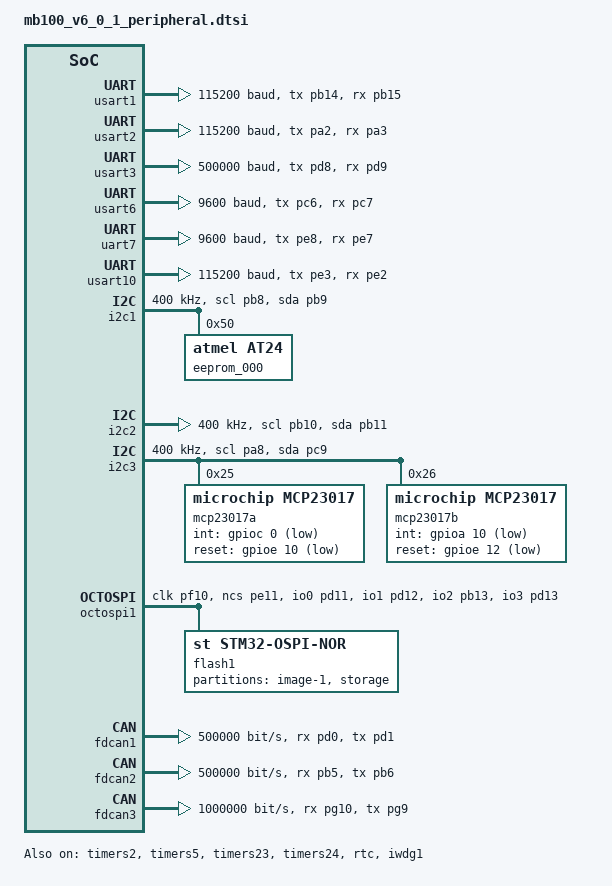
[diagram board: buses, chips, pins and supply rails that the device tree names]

/*
 *        Copyright (c) PINGSPACE SDN BHD
 *        Author: Yi Yun Lau <lau.yi.yun@pingspace.co>
 *        SPDX-License-Identifier: Apache-2.0
 *        Peripheral support and configs
 */

/*uarts start*/
&usart1 {
	//Serving: SC - ESP32 Communication
	pinctrl-0 = <&usart1_tx_pb14 &usart1_rx_pb15>;
	current-speed = <115200>;
	dmas = <&dmamux1 2 42 0x440>,
	       <&dmamux1 1 41 0x480>;
	pinctrl-names = "default";
	dma-names = "tx", "rx";
	status = "okay";
};

&usart2 {
	//Serving: SC - ESP32 Boot Flash
	pinctrl-0 = <&usart2_tx_pa2 &usart2_rx_pa3>;
	current-speed = <115200>;
	dmas = <&dmamux1 4 44 0x440>,
	       <&dmamux1 3 43 0x480>;
	pinctrl-names = "default";
	dma-names = "tx", "rx";
	status = "okay";
};

&usart3 {
	//Serving: Logging, and Shell.
	pinctrl-0 = <&usart3_tx_pd8 &usart3_rx_pd9>;
	current-speed = <500000>;
	pinctrl-names = "default";
	status = "okay";
};

&usart6 {
	//Serving: Rail QR Scanner
	pinctrl-0 = <&usart6_tx_pc6 &usart6_rx_pc7>;
	current-speed = <9600>;
	pinctrl-names = "default";
	status = "okay";
};

&uart7 {
	//Serving: Scanner A
	pinctrl-0 = <&uart7_tx_pe8 &uart7_rx_pe7>;
	current-speed = <9600>;
	pinctrl-names = "default";
	status = "okay";
};

&usart10 {
	//Serving: Zigbee
	pinctrl-0 = <&usart10_tx_pe3 &usart10_rx_pe2>;
	current-speed = <115200>;
	dmas = <&dmamux1 12 119 0x440>,
	       <&dmamux1 11 118 0x480>;
	pinctrl-names = "default";
	dma-names = "tx", "rx";
	status = "okay";
};
/*uarts end*/

/* i2c start */
&i2c1 {
	//Serving: EEPROM
	pinctrl-0 = <&i2c1_scl_pb8 &i2c1_sda_pb9>;
	pinctrl-names = "default";
	status = "okay";
	clock-frequency = <I2C_BITRATE_FAST>;

	// eeprom reg address: 1010 (standard eeprom initial address)
	// A0: 0, A1: 0, A2: 0: 000
	// eeprom i2c address: 0b 1010000 (0x50)
	eeprom_000: eeprom@50 {
		compatible = "atmel,at24";
		reg = <0x50>;
		size = <65536>;
		pagesize = <32>;
		address-width = <16>;
		timeout = <5>;
	};
};

&i2c2 {
	//Serving: Temperature Sensor & IMU Sensor
	pinctrl-0 = <&i2c2_scl_pb10 &i2c2_sda_pb11>;
	pinctrl-names = "default";
	status = "okay";
	clock-frequency = <I2C_BITRATE_FAST>;
};

&i2c3 {
	//Serving: IO Expander
	pinctrl-0 = <&i2c3_scl_pa8 &i2c3_sda_pc9>;
	pinctrl-names = "default";
	status = "okay";
	clock-frequency = <I2C_BITRATE_FAST>;

	mcp23017a: mcp23017a@25 { // Encoder Mux (Outputs)
		compatible = "microchip,mcp23017";
		reg = <0x25>;
		gpio-controller;
		#gpio-cells = <2>;
		ngpios = <16>;
		status = "okay";
		interrupt-controller;
		int-gpios = <&gpioc 0 GPIO_ACTIVE_LOW>; /*PC0*/
		reset-gpios = <&gpioe 10 GPIO_ACTIVE_LOW>; /*PE10*/
	};

	mcp23017b: mcp23017b@26 { // Panel Switch (Inputs Interrupt)
		compatible = "microchip,mcp23017";
		reg = <0x26>;
		gpio-controller;
		#gpio-cells = <2>;
		ngpios = <16>;
		status = "okay";
		interrupt-controller;
		int-gpios = <&gpioa 10 GPIO_ACTIVE_LOW>; /*PA10*/
		reset-gpios = <&gpioe 12 GPIO_ACTIVE_LOW>; /*PE12*/
	    };
};
/* i2c end */

/* spi start */
&octospi1 {
	pinctrl-0 = <&octospim_p1_clk_pf10 &octospim_p1_ncs_pe11
	&octospim_p1_io0_pd11 &octospim_p1_io1_pd12
	&octospim_p1_io2_pb13 &octospim_p1_io3_pd13>;
	pinctrl-names = "default";
	status = "okay";

    	flash1: flash1@90000000{
		compatible = "st,stm32-ospi-nor";
		reg = <0x90000000 DT_SIZE_M(64)>; /* 512 Mbits */
		size = <DT_SIZE_M(64)>;
		spi-bus-width = <OSPI_QUAD_MODE>;
		data-rate = <OSPI_STR_TRANSFER>;
		ospi-max-frequency = <50000000>;
		writeoc = "PP_1_4_4";
		four-byte-opcodes;
		status = "okay";
    	};
};
/* spi end */

&flash0 {
	partitions {
		compatible = "fixed-partitions";
		#address-cells = <1>;
		#size-cells = <1>;
		boot_partition: partition@0 {
			label = "mcuboot";
			reg = <0x00000000 DT_SIZE_K(128)>;
		};
		slot0_partition: partition@20000 {
			label = "image-0";
			reg = <0x00020000 DT_SIZE_K(768)>;
		};
	};
};

&flash1 {
	partitions {
		compatible = "fixed-partitions";
		#address-cells = <1>;
		#size-cells = <1>;
	
		slot1_partition: partition@20000 {
			label = "image-1";
			reg = <0x00020000 DT_SIZE_K(768)>; /* Secondary External firmware */
		};
	
		storage_partition: partition@E0000 {
			label = "storage";
			reg = <0x000E0000 0x4000000>; /* XMB for storage */
		};
	};  
};

/*dmas start*/
&dma1 {
	status = "okay";
};

&dma2 {
	status = "okay";
};

&dmamux1 {
	status = "okay";
};
/*dmas end*/

/*timers start*/
&timers2 {
	status = "okay";
	st,prescaler = <0>;
	// serving timers2 encoder mode (ch1 & ch2)
	tim2enc_mode: tim2enc_mode {
		status = "okay";
		compatible = "st,stm32-qdec";
		pinctrl-0 = <&tim2_ch1_pa5 &tim2_ch2_pb3>;
		pinctrl-names = "default";
		st,counts-per-revolution = <1>;
	};
};

&timers5 {
	status = "okay";
	st,prescaler = <0>;
	// serving timers5 encoder mode (ch1 & ch2)
	tim5enc_mode: tim5enc_mode {
		status = "okay";
		compatible = "st,stm32-qdec";
		pinctrl-0 = <&tim5_ch1_pa0 &tim5_ch2_pa1>;
		pinctrl-names = "default";
		st,counts-per-revolution = <1>;
	};
};

&timers23 {
	status = "okay";
	st,prescaler = <0>;
	// serving timers23 encoder mode (ch1 & ch2)
	tim23enc_mode: tim23enc_mode {
		status = "okay";
		compatible = "st,stm32-qdec";
		pinctrl-0 = <&tim23_ch1_pf0 &tim23_ch2_pf1>;
		pinctrl-names = "default";
		st,counts-per-revolution = <1>;
	};
};

&timers24 {
	status = "okay";
	st,prescaler = <0>;
	// serving timers24 encoder mode (ch1 & ch2)
	tim24enc_mode: tim24enc_mode {
		status = "okay";
		compatible = "st,stm32-qdec";
		pinctrl-0 = <&tim24_ch1_pf11 &tim24_ch2_pf12>;
		pinctrl-names = "default";
		st,counts-per-revolution = <1>;
	};
};
/*timers end*/

/*rtc start*/
&rtc {
	status = "okay";
	clocks = <&rcc STM32_CLOCK_BUS_APB4 0x00010000>,
		 <&rcc STM32_SRC_LSI RTC_SEL(2)>;
};

&backup_sram {
	status = "okay";
};
/*rtc end*/

&iwdg1 {
	status = "okay";
};

&fdcan1 {
	pinctrl-0 = <&fdcan1_rx_pd0 &fdcan1_tx_pd1>;
	pinctrl-names = "default";
	clocks = <&rcc STM32_CLOCK_BUS_APB1_2 0x00000100>,
	         <&rcc STM32_SRC_HSE FDCAN_SEL(0)>;
	status = "okay";

	bitrate = <500000>;
	bitrate-data = <500000>;
	sample-point = <750>;
	sample-point-data = <750>;
	clk-divider = <1>;
};

&fdcan2 {
	pinctrl-0 = <&fdcan2_rx_pb5 &fdcan2_tx_pb6>;
	pinctrl-names = "default";
	clocks = <&rcc STM32_CLOCK_BUS_APB1_2 0x00000100>,
	         <&rcc STM32_SRC_HSE FDCAN_SEL(0)>;
	status = "okay";

	bitrate = <500000>;
	bitrate-data = <500000>;
	sample-point = <750>;
	sample-point-data = <750>;
	clk-divider = <1>;
};

&fdcan3 {
	pinctrl-0 = <&fdcan3_rx_pg10 &fdcan3_tx_pg9>;
	pinctrl-names = "default";
	clocks = <&rcc STM32_CLOCK_BUS_APB1_2 0x00000100>,
	         <&rcc STM32_SRC_HSE FDCAN_SEL(0)>;
	status = "okay";

	bitrate = <1000000>;
	bitrate-data = <1000000>;
	sample-point = <750>;
	sample-point-data = <750>;
	clk-divider = <1>;
};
